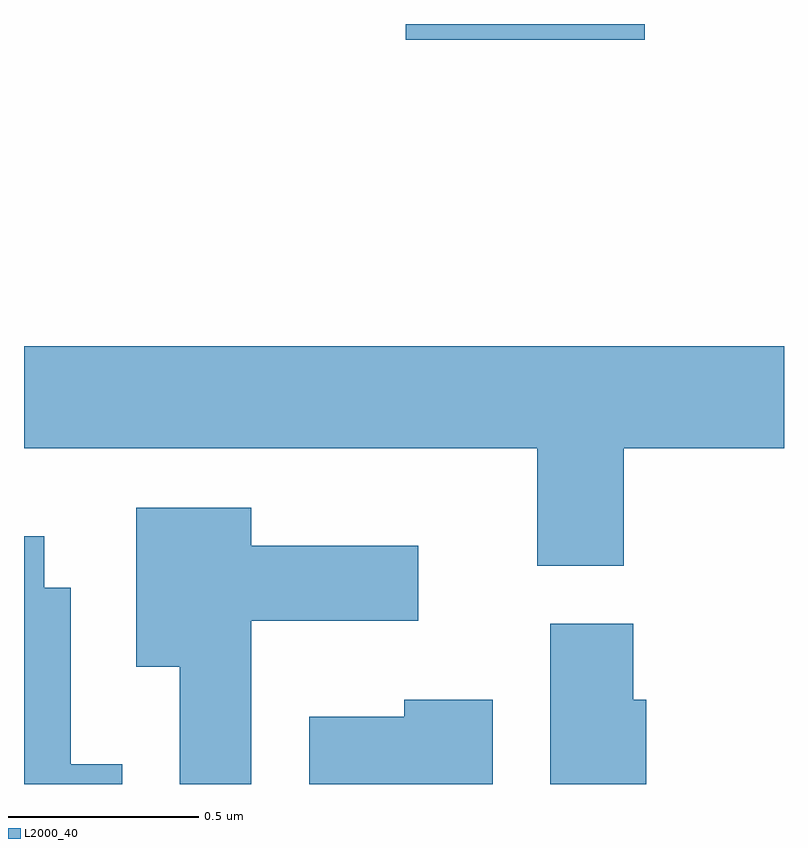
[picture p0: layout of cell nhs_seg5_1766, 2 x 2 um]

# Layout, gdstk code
import gdstk
lib = gdstk.Library(unit=1e-6, precision=1e-09)
def R(c, l, rs):  # rectangles x0, y0, x1, y1
    for r in rs: c.add(gdstk.rectangle(r[:2], r[2:], *l))
def P(c, l, *ps):  # polygons
    for p in ps: c.add(gdstk.Polygon(p, *l))
L2000_40 = (2000, 40)

nhs_seg5_1766 = lib.new_cell('nhs_seg5_1766')
R(nhs_seg5_1766, L2000_40, [(198.616,1520.031,199.244,1520.072)])
P(nhs_seg5_1766, L2000_40, [(199.189,1518.956),(199.611,1518.956),(199.611,1519.224),(197.611,1519.224),(197.611,1518.956),(198.961,1518.956),(198.961,1518.646),(199.189,1518.646)],
  [(198.209,1518.501),(198.649,1518.501),(198.649,1518.699),(198.209,1518.699),(198.209,1518.799),(197.906,1518.799),(197.906,1518.381),(198.021,1518.381),(198.021,1518.072),(198.209,1518.072)],
  [(197.869,1518.124),(197.734,1518.124),(197.734,1518.589),(197.664,1518.589),(197.664,1518.724),(197.611,1518.724),(197.611,1518.072),(197.869,1518.072)],
  [(199.249,1518.294),(199.214,1518.294),(199.214,1518.494),(198.996,1518.494),(198.996,1518.072),(199.249,1518.072)],
  [(198.844,1518.294),(198.611,1518.294),(198.611,1518.249),(198.361,1518.249),(198.361,1518.072),(198.844,1518.072)])

lib.write_gds('nhs_seg5_1766.gds')
